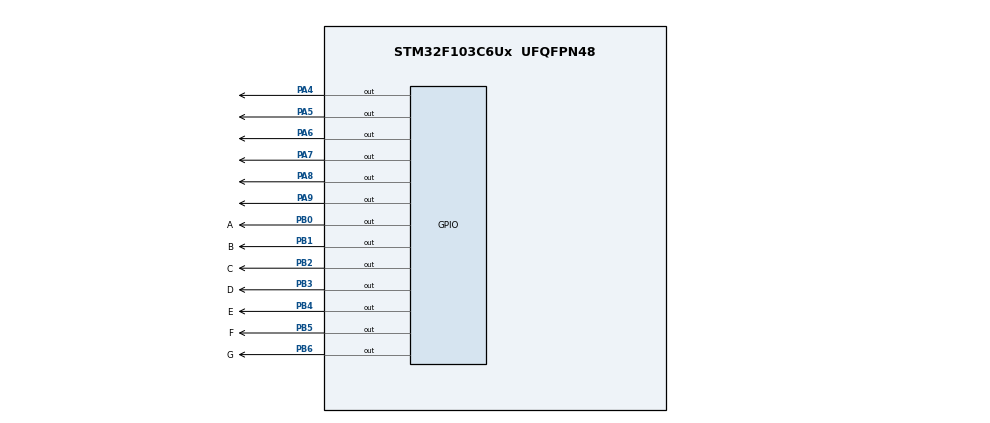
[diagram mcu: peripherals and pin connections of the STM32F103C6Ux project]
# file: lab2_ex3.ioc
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Mcu.Family=STM32F1
Mcu.Name=STM32F103C6Ux
Mcu.Package=UFQFPN48
NVIC.PriorityGroup=NVIC_PRIORITYGROUP_4
NVIC.TIM2_IRQn=true\:0\:0\:false\:false\:true\:true\:true
PA4.Signal=GPIO_Output
PA5.Signal=GPIO_Output
PA6.Signal=GPIO_Output
PA7.Signal=GPIO_Output
PA8.Signal=GPIO_Output
PA9.Signal=GPIO_Output
PB0.GPIO_Label=A
PB0.Signal=GPIO_Output
PB1.GPIO_Label=B
PB1.Signal=GPIO_Output
PB2.GPIO_Label=C
PB2.Signal=GPIO_Output
PB3.GPIO_Label=D
PB3.Signal=GPIO_Output
PB4.GPIO_Label=E
PB4.Signal=GPIO_Output
PB5.GPIO_Label=F
PB5.Signal=GPIO_Output
PB6.GPIO_Label=G
PB6.Signal=GPIO_Output
ProjectManager.HeapSize=0x200
ProjectManager.StackSize=0x400
ProjectManager.TargetToolchain=STM32CubeIDE
RCC.APB1Freq_Value=8000000
RCC.APB2Freq_Value=8000000
TIM2.Period=9
TIM2.Prescaler=7999
VP_SYS_VS_ND.Mode=No_Debug
VP_TIM2_VS_ClockSourceINT.Mode=Internal
board=custom

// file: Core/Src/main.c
/* USER CODE BEGIN Header */
/**
  ******************************************************************************
  * @file           : main.c
  * @brief          : Main program body
  ******************************************************************************
  * @attention
  *
  * <h2><center>&copy; Copyright (c) 2023 STMicroelectronics.
  * All rights reserved.</center></h2>
  *
  * This software component is licensed by ST under BSD 3-Clause license,
  * the "License"; You may not use this file except in compliance with the
  * License. You may obtain a copy of the License at:
  *                        opensource.org/licenses/BSD-3-Clause
  *
  ******************************************************************************
  */
/* USER CODE END Header */
#include "main.h"

TIM_HandleTypeDef htim2;

void SystemClock_Config(void);
static void MX_GPIO_Init(void);
static void MX_TIM2_Init(void);
void update7SEG(int index);
void display7SEG(int num);

int main(void)
{

  /* MCU Configuration--------------------------------------------------------*/

  /* Reset of all peripherals, Initializes the Flash interface and the Systick. */
  HAL_Init();

  /* Configure the system clock */
  SystemClock_Config();

  /* Initialize all configured peripherals */
  MX_GPIO_Init();
  MX_TIM2_Init();
  /* USER CODE BEGIN 2 */
  HAL_TIM_Base_Start_IT(&htim2);
  /* USER CODE END 2 */

  /* Infinite loop */
  while (1)
  {

  }
}

void SystemClock_Config(void)
{
  RCC_OscInitTypeDef RCC_OscInitStruct = {0};
  RCC_ClkInitTypeDef RCC_ClkInitStruct = {0};

  /** Initializes the RCC Oscillators according to the specified parameters
  * in the RCC_OscInitTypeDef structure.
  */
  RCC_OscInitStruct.OscillatorType = RCC_OSCILLATORTYPE_HSI;
  RCC_OscInitStruct.HSIState = RCC_HSI_ON;
  RCC_OscInitStruct.HSICalibrationValue = RCC_HSICALIBRATION_DEFAULT;
  RCC_OscInitStruct.PLL.PLLState = RCC_PLL_NONE;
  if (HAL_RCC_OscConfig(&RCC_OscInitStruct) != HAL_OK)
  {
    Error_Handler();
  }
  /** Initializes the CPU, AHB and APB buses clocks
  */
  RCC_ClkInitStruct.ClockType = RCC_CLOCKTYPE_HCLK|RCC_CLOCKTYPE_SYSCLK
                              |RCC_CLOCKTYPE_PCLK1|RCC_CLOCKTYPE_PCLK2;
  RCC_ClkInitStruct.SYSCLKSource = RCC_SYSCLKSOURCE_HSI;
  RCC_ClkInitStruct.AHBCLKDivider = RCC_SYSCLK_DIV1;
  RCC_ClkInitStruct.APB1CLKDivider = RCC_HCLK_DIV1;
  RCC_ClkInitStruct.APB2CLKDivider = RCC_HCLK_DIV1;

  if (HAL_RCC_ClockConfig(&RCC_ClkInitStruct, FLASH_LATENCY_0) != HAL_OK)
  {
    Error_Handler();
  }
}

static void MX_TIM2_Init(void)
{

  TIM_ClockConfigTypeDef sClockSourceConfig = {0};
  TIM_MasterConfigTypeDef sMasterConfig = {0};

  htim2.Instance = TIM2;
  htim2.Init.Prescaler = 7999;
  htim2.Init.CounterMode = TIM_COUNTERMODE_UP;
  htim2.Init.Period = 9;
  htim2.Init.ClockDivision = TIM_CLOCKDIVISION_DIV1;
  htim2.Init.AutoReloadPreload = TIM_AUTORELOAD_PRELOAD_DISABLE;
  if (HAL_TIM_Base_Init(&htim2) != HAL_OK)
  {
    Error_Handler();
  }
  sClockSourceConfig.ClockSource = TIM_CLOCKSOURCE_INTERNAL;
  if (HAL_TIM_ConfigClockSource(&htim2, &sClockSourceConfig) != HAL_OK)
  {
    Error_Handler();
  }
  sMasterConfig.MasterOutputTrigger = TIM_TRGO_RESET;
  sMasterConfig.MasterSlaveMode = TIM_MASTERSLAVEMODE_DISABLE;
  if (HAL_TIMEx_MasterConfigSynchronization(&htim2, &sMasterConfig) != HAL_OK)
  {
    Error_Handler();
  }

}

static void MX_GPIO_Init(void)
{
  GPIO_InitTypeDef GPIO_InitStruct = {0};

  /* GPIO Ports Clock Enable */
  __HAL_RCC_GPIOA_CLK_ENABLE();
  __HAL_RCC_GPIOB_CLK_ENABLE();

  /*Configure GPIO pin Output Level */
  HAL_GPIO_WritePin(GPIOA, GPIO_PIN_4|GPIO_PIN_5|GPIO_PIN_6|GPIO_PIN_7
                          |GPIO_PIN_8|GPIO_PIN_9, GPIO_PIN_RESET);

  /*Configure GPIO pin Output Level */
  HAL_GPIO_WritePin(GPIOB, A_Pin|B_Pin|C_Pin|D_Pin
                          |E_Pin|F_Pin|G_Pin, GPIO_PIN_RESET);

  /*Configure GPIO pins : PA4 PA5 PA6 PA7
                           PA8 PA9 */
  GPIO_InitStruct.Pin = GPIO_PIN_4|GPIO_PIN_5|GPIO_PIN_6|GPIO_PIN_7
                          |GPIO_PIN_8|GPIO_PIN_9;
  GPIO_InitStruct.Mode = GPIO_MODE_OUTPUT_PP;
  GPIO_InitStruct.Pull = GPIO_NOPULL;
  GPIO_InitStruct.Speed = GPIO_SPEED_FREQ_LOW;
  HAL_GPIO_Init(GPIOA, &GPIO_InitStruct);

  /*Configure GPIO pins : A_Pin B_Pin C_Pin D_Pin
                           E_Pin F_Pin G_Pin */
  GPIO_InitStruct.Pin = A_Pin|B_Pin|C_Pin|D_Pin
                          |E_Pin|F_Pin|G_Pin;
  GPIO_InitStruct.Mode = GPIO_MODE_OUTPUT_PP;
  GPIO_InitStruct.Pull = GPIO_NOPULL;
  GPIO_InitStruct.Speed = GPIO_SPEED_FREQ_LOW;
  HAL_GPIO_Init(GPIOB, &GPIO_InitStruct);

}

/* USER CODE BEGIN 4 */
const int MAX_LED = 4;
int led_buffer[4] = {6, 7, 8, 9};
void update7SEG(int index){
	switch(index){
		case 0:
			display7SEG(led_buffer[0]);
			HAL_GPIO_WritePin(GPIOA, GPIO_PIN_6, RESET);
			HAL_GPIO_WritePin(GPIOA, GPIO_PIN_7, SET);
			HAL_GPIO_WritePin(GPIOA, GPIO_PIN_8, SET);
			HAL_GPIO_WritePin(GPIOA, GPIO_PIN_9, SET);
			break;
		case 1:
			display7SEG(led_buffer[1]);
			HAL_GPIO_WritePin(GPIOA, GPIO_PIN_6, SET);
			HAL_GPIO_WritePin(GPIOA, GPIO_PIN_7, RESET);
			HAL_GPIO_WritePin(GPIOA, GPIO_PIN_8, SET);
			HAL_GPIO_WritePin(GPIOA, GPIO_PIN_9, SET);
			break;
		case 2:
			display7SEG(led_buffer[2]);
			HAL_GPIO_WritePin(GPIOA, GPIO_PIN_6, SET);
			HAL_GPIO_WritePin(GPIOA, GPIO_PIN_7, SET);
			HAL_GPIO_WritePin(GPIOA, GPIO_PIN_8, RESET);
			HAL_GPIO_WritePin(GPIOA, GPIO_PIN_9, SET);
			break;
		case 3:
			display7SEG(led_buffer[3]);
			HAL_GPIO_WritePin(GPIOA, GPIO_PIN_6, SET);
			HAL_GPIO_WritePin(GPIOA, GPIO_PIN_7, SET);
			HAL_GPIO_WritePin(GPIOA, GPIO_PIN_8, SET);
			HAL_GPIO_WritePin(GPIOA, GPIO_PIN_9, RESET);
			break;
		default:
			break;
	}
}
void display7SEG(int number){
	switch(number){
		case 0:
			HAL_GPIO_WritePin(A_GPIO_Port, A_Pin, RESET);
			HAL_GPIO_WritePin(B_GPIO_Port, B_Pin, RESET);
			HAL_GPIO_WritePin(C_GPIO_Port, C_Pin, RESET);
			HAL_GPIO_WritePin(D_GPIO_Port, D_Pin, RESET);
			HAL_GPIO_WritePin(E_GPIO_Port, E_Pin, RESET);
			HAL_GPIO_WritePin(F_GPIO_Port, F_Pin, RESET);
			HAL_GPIO_WritePin(G_GPIO_Port, G_Pin, SET);
			break;
		case 1:
			HAL_GPIO_WritePin(A_GPIO_Port, A_Pin, SET);
			HAL_GPIO_WritePin(B_GPIO_Port, B_Pin, RESET);
			HAL_GPIO_WritePin(C_GPIO_Port, C_Pin, RESET);
			HAL_GPIO_WritePin(D_GPIO_Port, D_Pin, SET);
			HAL_GPIO_WritePin(E_GPIO_Port, E_Pin, SET);
			HAL_GPIO_WritePin(F_GPIO_Port, F_Pin, SET);
			HAL_GPIO_WritePin(G_GPIO_Port, G_Pin, SET);
			break;
		case 2:
			HAL_GPIO_WritePin(A_GPIO_Port, A_Pin, RESET);
			HAL_GPIO_WritePin(B_GPIO_Port, B_Pin, RESET);
			HAL_GPIO_WritePin(C_GPIO_Port, C_Pin, SET);
			HAL_GPIO_WritePin(D_GPIO_Port, D_Pin, RESET);
			HAL_GPIO_WritePin(E_GPIO_Port, E_Pin, RESET);
			HAL_GPIO_WritePin(F_GPIO_Port, F_Pin, SET);
			HAL_GPIO_WritePin(G_GPIO_Port, G_Pin, RESET);
			break;
		case 3:
			HAL_GPIO_WritePin(A_GPIO_Port, A_Pin, RESET);
			HAL_GPIO_WritePin(B_GPIO_Port, B_Pin, RESET);
			HAL_GPIO_WritePin(C_GPIO_Port, C_Pin, RESET);
			HAL_GPIO_WritePin(D_GPIO_Port, D_Pin, RESET);
			HAL_GPIO_WritePin(E_GPIO_Port, E_Pin, SET);
			HAL_GPIO_WritePin(F_GPIO_Port, F_Pin, SET);
			HAL_GPIO_WritePin(G_GPIO_Port, G_Pin, RESET);
			break;
		case 4:
			HAL_GPIO_WritePin(A_GPIO_Port, A_Pin, SET);
			HAL_GPIO_WritePin(B_GPIO_Port, B_Pin, RESET);
			HAL_GPIO_WritePin(C_GPIO_Port, C_Pin, RESET);
			HAL_GPIO_WritePin(D_GPIO_Port, D_Pin, SET);
			HAL_GPIO_WritePin(E_GPIO_Port, E_Pin, SET);
			HAL_GPIO_WritePin(F_GPIO_Port, F_Pin, RESET);
			HAL_GPIO_WritePin(G_GPIO_Port, G_Pin, RESET);
			break;
		case 5:
			HAL_GPIO_WritePin(A_GPIO_Port, A_Pin, RESET);
			HAL_GPIO_WritePin(B_GPIO_Port, B_Pin, SET);
			HAL_GPIO_WritePin(C_GPIO_Port, C_Pin, RESET);
			HAL_GPIO_WritePin(D_GPIO_Port, D_Pin, RESET);
			HAL_GPIO_WritePin(E_GPIO_Port, E_Pin, SET);
			HAL_GPIO_WritePin(F_GPIO_Port, F_Pin, RESET);
			HAL_GPIO_WritePin(G_GPIO_Port, G_Pin, RESET);
			break;
		case 6:
			HAL_GPIO_WritePin(A_GPIO_Port, A_Pin, RESET);
			HAL_GPIO_WritePin(B_GPIO_Port, B_Pin, SET);
			HAL_GPIO_WritePin(C_GPIO_Port, C_Pin, RESET);
			HAL_GPIO_WritePin(D_GPIO_Port, D_Pin, RESET);
			HAL_GPIO_WritePin(E_GPIO_Port, E_Pin, RESET);
			HAL_GPIO_WritePin(F_GPIO_Port, F_Pin, RESET);
			HAL_GPIO_WritePin(G_GPIO_Port, G_Pin, RESET);
			break;
		case 7:
			HAL_GPIO_WritePin(A_GPIO_Port, A_Pin, RESET);
			HAL_GPIO_WritePin(B_GPIO_Port, B_Pin, RESET);
			HAL_GPIO_WritePin(C_GPIO_Port, C_Pin, RESET);
			HAL_GPIO_WritePin(D_GPIO_Port, D_Pin, SET);
			HAL_GPIO_WritePin(E_GPIO_Port, E_Pin, SET);
			HAL_GPIO_WritePin(F_GPIO_Port, F_Pin, SET);
			HAL_GPIO_WritePin(G_GPIO_Port, G_Pin, SET);
			break;
		case 8:
			HAL_GPIO_WritePin(A_GPIO_Port, A_Pin, RESET);
			HAL_GPIO_WritePin(B_GPIO_Port, B_Pin, RESET);
			HAL_GPIO_WritePin(C_GPIO_Port, C_Pin, RESET);
			HAL_GPIO_WritePin(D_GPIO_Port, D_Pin, RESET);
			HAL_GPIO_WritePin(E_GPIO_Port, E_Pin, RESET);
			HAL_GPIO_WritePin(F_GPIO_Port, F_Pin, RESET);
			HAL_GPIO_WritePin(G_GPIO_Port, G_Pin, RESET);
			break;
		case 9:
			HAL_GPIO_WritePin(A_GPIO_Port, A_Pin, RESET);
			HAL_GPIO_WritePin(B_GPIO_Port, B_Pin, RESET);
			HAL_GPIO_WritePin(C_GPIO_Port, C_Pin, RESET);
			HAL_GPIO_WritePin(D_GPIO_Port, D_Pin, RESET);
			HAL_GPIO_WritePin(E_GPIO_Port, E_Pin, SET);
			HAL_GPIO_WritePin(F_GPIO_Port, F_Pin, RESET);
			HAL_GPIO_WritePin(G_GPIO_Port, G_Pin, RESET);
			break;
		default:
			break;
	}
}
int counter = 50;
int second = 100;
int index_led = 0;
void HAL_TIM_PeriodElapsedCallback(TIM_HandleTypeDef *htim){
	 counter--;
	 second--;
	 if(second <= 0){
		 second = 100;
		 HAL_GPIO_TogglePin(GPIOA, GPIO_PIN_4);
		 HAL_GPIO_TogglePin(GPIOA, GPIO_PIN_5);
	 }
	 if(counter <= 0){
		 counter = 50;
		 update7SEG(index_led++);
		 if(index_led >= 4){
			 index_led = 0;
		 }
	 }
}
/* USER CODE END 4 */

void Error_Handler(void)
{
  __disable_irq();
  while (1)
  {
  }
}

/************************ (C) COPYRIGHT STMicroelectronics *****END OF FILE****/
